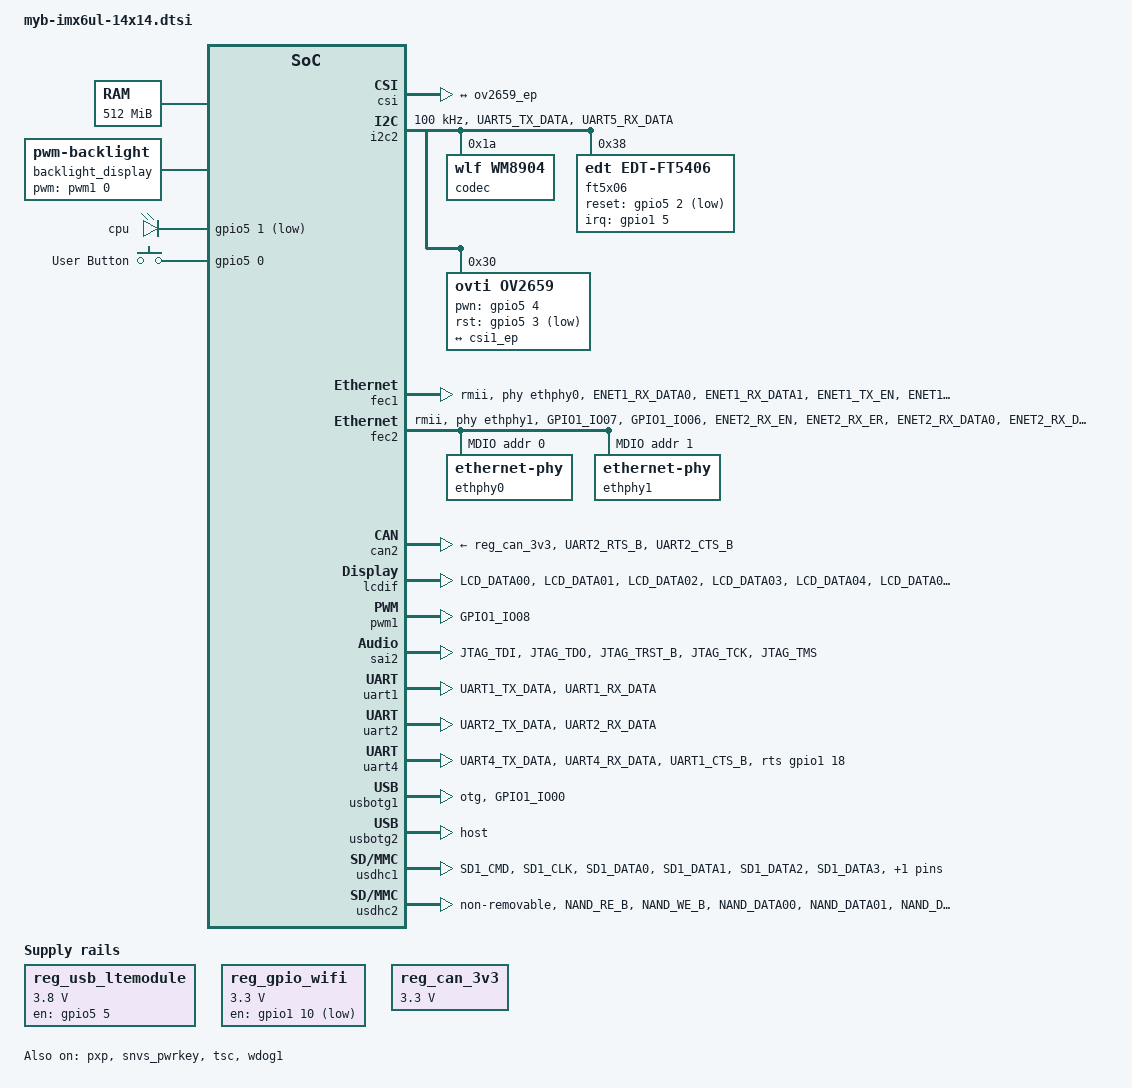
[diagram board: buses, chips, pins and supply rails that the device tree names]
// SPDX-License-Identifier: GPL-2.0
//
// Copyright (C) 2015 Freescale Semiconductor, Inc.

/ {
	chosen {
		stdout-path = &uart1;
	};

	memory@80000000 {
		device_type = "memory";
		reg = <0x80000000 0x20000000>;
	};

	reserved-memory {
		#address-cells = <1>;
		#size-cells = <1>;
		ranges;

		linux,cma {
			compatible = "shared-dma-pool";
			reusable;
			//size = <0x14000000>;
			size = <0x8000000>;
			linux,cma-default;
		};
	};

    usdhc2_pwrseq: usdhc2_pwrseq {                                                                                              
          compatible = "mmc-pwrseq-simple";                                                                                     
    };   

	backlight_display: backlight-display {
		compatible = "pwm-backlight";
		pwms = <&pwm1 0 5000000>;
		brightness-levels = <0 4 8 16 32 64 128 255>;
		default-brightness-level = <6>;
		status = "okay";
	};

	pxp_v4l2 {
		compatible = "fsl,imx6ul-pxp-v4l2", "fsl,imx6sx-pxp-v4l2", "fsl,imx6sl-pxp-v4l2";
		status = "okay";
	};

    reg_usb_ltemodule: regulator@1 {                                                                                            
            compatible = "regulator-fixed";                                                                                     
            regulator-name = "ltemodule-pwr";                                                                                   
            regulator-min-microvolt = <3800000>;                                                                                
            regulator-max-microvolt = <3800000>;                                                                                
            gpios = <&gpio5 5 GPIO_ACTIVE_HIGH>;                                                                                
            enable-active-high;                                                                                                 
            regulator-boot-on;
            regulator-always-on;                                                                                               
    };                                                                                                                          
                                                                                                                                
    reg_gpio_wifi: regulator@2 {                                                                                                
            compatible = "regulator-fixed";                                                                                     
            regulator-name = "wifi-pwr";                                                                                        
            regulator-min-microvolt = <3300000>;                                                                                
            regulator-max-microvolt = <3300000>;                                                                                
            gpios = <&gpio1 10 GPIO_ACTIVE_LOW>;                                                                                
            regulator-boot-on;
 	    regulator-always-on;                                                                                                  
    }; 

	reg_can_3v3: regulator-can-3v3 {
		compatible = "regulator-fixed";
		regulator-name = "can-3v3";
		regulator-min-microvolt = <3300000>;
		regulator-max-microvolt = <3300000>;
		regulator-always-on;
	};

    leds {
            compatible = "gpio-leds";
            pinctrl-names = "default";
            pinctrl-0 = <&pinctrl_leds>;

            led0: cpu {
                    label = "cpu";
                    gpios = <&gpio5 1 GPIO_ACTIVE_LOW>;
                    default-state = "on";
                    linux,default-trigger = "heartbeat";
            };
    };

    gpio-keys {
            compatible = "gpio-keys";
            pinctrl-names = "default";
            pinctrl-0 = <&pinctrl_gpio_key>;

            user {
                    label = "User Button";
                    gpios = <&gpio5 0 GPIO_ACTIVE_HIGH>;
                    gpio-key,wakeup;
                    linux,code = <KEY_1>;
            };
    };

    sound {                                                                                                                     
           compatible = "fsl,imx6ul-evk-wm8904",                                                                               
                       "fsl,imx-audio-wm8904";                                                                                 
           model = "wm8904-audio";                                                                                             
           cpu-dai = <&sai2>;                                                                                                  
           audio-codec = <&codec>;                                                                                             
           asrc-controller = <&asrc>;
          // codec-master;                                                                                          
           gpr = <&gpr>;                                                                                                       
           audio-routing =                                                                                                     
                   "Headphone Jack", "HPOUTL",                                                                                 
                   "Headphone Jack", "HPOUTR",                                                                                 
                   "IN2L", "Line In Jack",                                                                                     
                   "IN2R", "Line In Jack",                                                                                     
                   "Mic Jack", "MICBIAS",                                                                                      
                   "IN1L", "Mic Jack";                                                                                         
    }; 

/*
	sound {
                #address-cells = <1>;
                #size-cells = <0>;
                compatible = "simple-audio-card";
	        model = "wm8904-audio";
                simple-audio-card,widgets =
                        "Headphone", "Headphone Jack",
                        "Line", "Line Out Jack",
                        "Microphone", "Microphone Jack",
                        "Line", "Line In Jack";
                simple-audio-card,routing =
                        "Line Out Jack", "LINEOUTR",
                        "Line Out Jack", "LINEOUTL",
                        "Headphone Jack", "HPOUTR",
                        "Headphone Jack", "HPOUTL",
                        "IN1L", "Line In Jack",
                        "IN1R", "Line In Jack",
                        "Microphone Jack", "MICBIAS",
                        "IN2L", "Microphone Jack",
                        "IN2R", "Microphone Jack";
                simple-audio-card,mclk-fs = <256>;

                simple-audio-card,dai-link@0 {
                        reg = <0>;
                        bitclock-master = <&dailink0_master>;
                        frame-master = <&dailink0_master>;
                        format = "i2s";

                        cpu {
                                sound-dai = <&sai2>;
                        };

                        dailink0_master: codec {
                                sound-dai = <&wm8904>;
                        };
          };
	};
*/

};

&clks {
	assigned-clocks = <&clks IMX6UL_CLK_PLL4_AUDIO_DIV>;
	assigned-clock-rates = <786432000>;
};

&csi {
	status = "okay";

    port {
        csi1_ep: endpoint {
            remote-endpoint = <&ov2659_ep>;
        };
    };
};

&i2c2 {
	clock-frequency = <100000>;
	pinctrl-names = "default";
	pinctrl-0 = <&pinctrl_i2c2>;
	status = "okay";

    codec: wm8904@1a {
        #sound-dai-cells = <0>;
        compatible = "wlf,wm8904";
        reg = <0x1a>;
        clocks = <&clks IMX6UL_CLK_SAI2>;
        clock-names = "mclk";
        wlf,shared-lrclk;
    };

/*
    wm8904: audio-codec@1a {
                #sound-dai-cells = <0>;
                compatible = "wlf,wm8904";
                reg = <0x1a>;
          //      clocks = <&mclk>;
                clocks = <&clks IMX6UL_CLK_SAI2>;
                clock-names = "mclk";
                //assigned-clocks = <&mclk>;
                //assigned-clock-rates = <1250000>;
        };
*/    
    ft5x06: ft5x06@38 {                                                                                                         
        compatible = "edt,edt-ft5406", "edt,edt-ft5x06";                                                                        
            reg = <0x38>;                                                                                                       
            pinctrl-names = "default";                                                                                          
            pinctrl-0 = <&edt_ft5x06_pins>;                                                                                     
            interrupt-parent = <&gpio1>;                                                                                        
            interrupts = <5 IRQ_TYPE_EDGE_FALLING>;                                                                             
            reset-gpios = <&gpio5 2  GPIO_ACTIVE_LOW>;                                                                          
            touchscreen-size-x=<800>;                                                                                          
            touchscreen-size-y=<480>;                                                                                           
    };    

    ov2659: ov2659@30 {
        compatible = "ovti,ov2659";
        reg = <0x30>;
        pinctrl-names = "default";
        pinctrl-0 = <&pinctrl_csi1>;
        clocks = <&clks IMX6UL_CLK_CSI>;
        clock-names = "xvclk";
        pwn-gpios = <&gpio5 4 GPIO_ACTIVE_HIGH>;
        rst-gpios = <&gpio5 3 GPIO_ACTIVE_LOW>;
        status = "okay";
        port {
            ov2659_ep: endpoint {
                remote-endpoint = <&csi1_ep>;
                link-frequencies = /bits/ 64 <70000000>;
            };
        };
    };
};

&fec1 {
	pinctrl-names = "default";
	pinctrl-0 = <&pinctrl_enet1>;
	phy-mode = "rmii";
	phy-handle = <&ethphy0>;
	phy-reset-gpios = <&gpio5 9 GPIO_ACTIVE_LOW>;
	phy-reset-duration = <26>;
        phy-reset-post-delay=<20>;
	status = "okay";
};

&fec2 {
	pinctrl-names = "default";
	pinctrl-0 = <&pinctrl_enet2>;
	phy-mode = "rmii";
	phy-handle = <&ethphy1>;
	phy-reset-gpios = <&gpio5 6 GPIO_ACTIVE_LOW>;
	phy-reset-duration = <26>;
        phy-reset-post-delay=<20>;
	status = "okay";

	mdio {
		#address-cells = <1>;
		#size-cells = <0>;

		ethphy0: ethernet-phy@0 {
			reg = <0>;
			micrel,led-mode = <1>;
		};

		ethphy1: ethernet-phy@1 {
			reg = <1>;
			micrel,led-mode = <1>;
		};
	};
};

&can1 {
	pinctrl-names = "default";
	pinctrl-0 = <&pinctrl_flexcan1>;
	xceiver-supply = <&reg_can_3v3>;
	status = "disabled";
};

&can2 {
	pinctrl-names = "default";
	pinctrl-0 = <&pinctrl_flexcan2>;
	xceiver-supply = <&reg_can_3v3>;
	status = "okay";
};

&i2c1 {
	clock-frequency = <100000>;
	pinctrl-names = "default";
	pinctrl-0 = <&pinctrl_i2c1>;
	status = "disabled";
};

&lcdif {
	assigned-clocks = <&clks IMX6UL_CLK_LCDIF_PRE_SEL>;
	assigned-clock-parents = <&clks IMX6UL_CLK_PLL5_VIDEO_DIV>;
	pinctrl-names = "default";
	pinctrl-0 = <&pinctrl_lcdif_dat
		     &pinctrl_lcdif_ctrl>;
	// powergpio-gpio = <&gpio3 4  GPIO_ACTIVE_HIGH>;
	display = <&display0>;
	status = "okay";

	display0: display@0 {
		bits-per-pixel = <16>;
		bus-width = <16>;

		display-timings {
			native-mode = <&timing0>;


			/*4.3-inch*/
			timing0: timing0 {
				clock-frequency = <9200000>;
				hactive = <480>;
				vactive = <272>;
				hfront-porch = <8>;
				hback-porch = <4>;
				hsync-len = <41>;
				vback-porch = <2>;
				vfront-porch = <4>;
				vsync-len = <10>;
				hsync-active = <0>;
				vsync-active = <0>;
				de-active = <1>;
				pixelclk-active = <0>;
			};

			/*7.0-inch*/
			timing1: timing1 {
				clock-frequency = <33000000>;
				hactive = <800>;
				vactive = <480>;
				hfront-porch = <210>;
				hback-porch = <46>;
				hsync-len = <1>;
				vback-porch = <22>;
				vfront-porch = <23>;
				vsync-len = <20>;
		
				hsync-active = <0>;
				vsync-active = <0>;
				de-active = <1>;
				pixelclk-active = <0>;
		};

		};
	};
};

&pwm1 {
	pinctrl-names = "default";
	pinctrl-0 = <&pinctrl_pwm1>;
	status = "okay";
};

&pxp {
	status = "okay";
};

&qspi {
	pinctrl-names = "default";
	status = "disabled";
};

&sai2 {
	pinctrl-names = "default";
	pinctrl-0 = <&pinctrl_sai2>;
	assigned-clocks = <&clks IMX6UL_CLK_SAI2_SEL>,
			  <&clks IMX6UL_CLK_SAI2>;
	assigned-clock-parents = <&clks IMX6UL_CLK_PLL4_AUDIO_DIV>;
	assigned-clock-rates = <0>, <12288000>;
	fsl,sai-mclk-direction-output;
	status = "okay";
};

&snvs_poweroff {
	status = "okay";
};

&snvs_pwrkey {
	status = "okay";
};

&sim2 {
	pinctrl-names = "default";
	pinctrl-0 = <&pinctrl_sim2>;
	assigned-clocks = <&clks IMX6UL_CLK_SIM_SEL>;
	assigned-clock-parents = <&clks IMX6UL_CLK_SIM_PODF>;
	assigned-clock-rates = <240000000>;
	/* GPIO_ACTIVE_HIGH/LOW:sim card voltage control
	 * NCN8025:Vcc = ACTIVE_HIGH?5V:3V
	 * TDA8035:Vcc = ACTIVE_HIGH?5V:1.8V
	 */
	pinctrl-assert-gpios = <&gpio4 23 GPIO_ACTIVE_HIGH>;
	port = <1>;
	sven_low_active;
	status = "disabled";
};

&tsc {
	pinctrl-names = "default";
	pinctrl-0 = <&pinctrl_tsc>;
	xnur-gpio = <&gpio1 3 GPIO_ACTIVE_LOW>;
	measure-delay-time = <0xffff>;
	pre-charge-time = <0xfff>;
	status = "okay";
};

&uart1 {
	pinctrl-names = "default";
	pinctrl-0 = <&pinctrl_uart1>;
	status = "okay";
};

&uart2 {
	pinctrl-names = "default";
	pinctrl-0 = <&pinctrl_uart2>;
	uart-has-rtscts;
	/* for DTE mode, add below change */
	/* fsl,dte-mode; */
	/* pinctrl-0 = <&pinctrl_uart2dte>; */
	status = "okay";
};

&uart4 {
    pinctrl-names = "default";
    pinctrl-0 = <&pinctrl_uart4>;
    rts-gpios = <&gpio1 18 GPIO_ACTIVE_HIGH>;
    status = "okay";
};

&usbotg1 {
	dr_mode = "otg";
	pinctrl-names = "default";
	pinctrl-0 = <&pinctrl_usb_otg1>;
        srp-disable;
        hnp-disable;
        adp-disable;
	status = "okay";
};

&usbotg2 {
	dr_mode = "host";
	disable-over-current;
	status = "okay";
};

&usbphy1 {
	fsl,tx-d-cal = <5>;
};

&usbphy2 {
	fsl,tx-d-cal = <5>;
};

&usdhc1 {
	pinctrl-names = "default";
	pinctrl-names = "default", "state_100mhz", "state_200mhz";
	pinctrl-0 = <&pinctrl_usdhc1>;
	pinctrl-1 = <&pinctrl_usdhc1_100mhz>;
	pinctrl-2 = <&pinctrl_usdhc1_200mhz>;
	cd-gpios = <&gpio1 19 GPIO_ACTIVE_LOW>;
	keep-power-in-suspend;
	wakeup-source;
	//vmmc-supply = <&reg_sd1_vmmc>;
	status = "okay";
};

&usdhc2 {                                                                                                                               
    pinctrl-names = "default";                                                                                                          
    pinctrl-0 = <&pinctrl_usdhc2>;                                                                                                      
    non-removable;                                                                                                                      
    keep-power-in-suspend;                                                                                                              
    wakeup-source;                                                                                                                      
    status = "okay";                                                                                                                    
};  

&wdog1 {
	pinctrl-names = "default";
	//pinctrl-0 = <&pinctrl_wdog>;
	status="okay";
	//fsl,ext-reset-output;
};

&iomuxc {
	pinctrl-names = "default";
	pinctrl-0 = <&pinctrl_hog_1>;
	imx6ul-evk {

    pinctrl_hog_1: hoggrp-1 {
        fsl,pins = <
            MX6UL_PAD_UART1_RTS_B__GPIO1_IO19   0x17059 /* SD1 CD */
            MX6UL_PAD_GPIO1_IO09__GPIO1_IO09    0x17059 /* LCD_DISP */
            MX6UL_PAD_NAND_CE1_B__GPIO4_IO14    0x17059 /* LTE Reset */
            //MX6UL_PAD_LCD_ENABLE__GPIO3_IO01    0x000010B0
            MX6UL_PAD_UART3_TX_DATA__GPIO1_IO24        0x000030B0
	    	MX6UL_PAD_UART3_RX_DATA__GPIO1_IO25        0x000010B0

            MX6UL_PAD_UART3_RTS_B__GPIO1_IO27          0x000010B0
            MX6UL_PAD_UART3_CTS_B__GPIO1_IO26          0x000010B0
            MX6UL_PAD_LCD_DATA17__GPIO3_IO22           0x000010B0

            // MX6UL_PAD_JTAG_TDO__GPIO1_IO12             0x000030B1
	>;
    };

    pinctrl_wifi: wifigrp {
        fsl,pins = <
            MX6UL_PAD_JTAG_MOD__GPIO1_IO10		0x17059 /* WiFi module power */
        >;
    };

    edt_ft5x06_pins: ft5x06 {
        fsl,pins = <
            MX6UL_PAD_GPIO1_IO05__GPIO1_IO05    0x1b0b0 /* TP INT */
        >;
    };

	pinctrl_csi1: csi1grp {
		fsl,pins = <
			MX6UL_PAD_CSI_MCLK__CSI_MCLK		0x1b088
			MX6UL_PAD_CSI_PIXCLK__CSI_PIXCLK	0x1b088
			MX6UL_PAD_CSI_VSYNC__CSI_VSYNC		0x1b088
			MX6UL_PAD_CSI_HSYNC__CSI_HSYNC		0x1b088
			MX6UL_PAD_CSI_DATA00__CSI_DATA02	0x1b088
			MX6UL_PAD_CSI_DATA01__CSI_DATA03	0x1b088
			MX6UL_PAD_CSI_DATA02__CSI_DATA04	0x1b088
			MX6UL_PAD_CSI_DATA03__CSI_DATA05	0x1b088
			MX6UL_PAD_CSI_DATA04__CSI_DATA06	0x1b088
			MX6UL_PAD_CSI_DATA05__CSI_DATA07	0x1b088
			MX6UL_PAD_CSI_DATA06__CSI_DATA08	0x1b088
			MX6UL_PAD_CSI_DATA07__CSI_DATA09	0x1b088
		>;
	};

	pinctrl_enet1: enet1grp {
		fsl,pins = <
			// MX6UL_PAD_ENET1_RX_EN__ENET1_RX_EN	0x1b0b0
			// MX6UL_PAD_ENET1_RX_ER__ENET1_RX_ER	0x1b0b0
			MX6UL_PAD_ENET1_RX_DATA0__ENET1_RDATA00	0x1b0b0
			MX6UL_PAD_ENET1_RX_DATA1__ENET1_RDATA01	0x1b0b0
			MX6UL_PAD_ENET1_TX_EN__ENET1_TX_EN	0x1b0b0
			MX6UL_PAD_ENET1_TX_DATA0__ENET1_TDATA00	0x1b0b0
			MX6UL_PAD_ENET1_TX_DATA1__ENET1_TDATA01	0x1b0b0
			MX6UL_PAD_ENET1_TX_CLK__ENET1_REF_CLK1	0x4001b031
		>;
	};

	pinctrl_enet2: enet2grp {
		fsl,pins = <
			MX6UL_PAD_GPIO1_IO07__ENET2_MDC		0x1b0b0
			MX6UL_PAD_GPIO1_IO06__ENET2_MDIO	0x1b0b0
			MX6UL_PAD_ENET2_RX_EN__ENET2_RX_EN	0x1b0b0
			MX6UL_PAD_ENET2_RX_ER__ENET2_RX_ER	0x1b0b0
			MX6UL_PAD_ENET2_RX_DATA0__ENET2_RDATA00	0x1b0b0
			MX6UL_PAD_ENET2_RX_DATA1__ENET2_RDATA01	0x1b0b0
			MX6UL_PAD_ENET2_TX_EN__ENET2_TX_EN	0x1b0b0
			MX6UL_PAD_ENET2_TX_DATA0__ENET2_TDATA00	0x1b0b0
			MX6UL_PAD_ENET2_TX_DATA1__ENET2_TDATA01	0x1b0b0
			MX6UL_PAD_ENET2_TX_CLK__ENET2_REF_CLK2	0x4001b031
		>;
	};

	pinctrl_flexcan1: flexcan1grp{
		fsl,pins = <
			MX6UL_PAD_UART3_RTS_B__FLEXCAN1_RX	0x1b020
			MX6UL_PAD_UART3_CTS_B__FLEXCAN1_TX	0x1b020
		>;
	};

	pinctrl_flexcan2: flexcan2grp{
		fsl,pins = <
			MX6UL_PAD_UART2_RTS_B__FLEXCAN2_RX	0x1b020
			MX6UL_PAD_UART2_CTS_B__FLEXCAN2_TX	0x1b020
		>;
	};

	pinctrl_i2c1: i2c1grp {
		fsl,pins = <
			MX6UL_PAD_UART4_TX_DATA__I2C1_SCL 0x4001b8b0
			MX6UL_PAD_UART4_RX_DATA__I2C1_SDA 0x4001b8b0
		>;
	};

	pinctrl_i2c2: i2c2grp {
		fsl,pins = <
			MX6UL_PAD_UART5_TX_DATA__I2C2_SCL 0x4001b8b0
			MX6UL_PAD_UART5_RX_DATA__I2C2_SDA 0x4001b8b0
		>;
	};

	pinctrl_lcdif_dat: lcdifdatgrp {
		fsl,pins = <
			MX6UL_PAD_LCD_DATA00__LCDIF_DATA00  0x79
			MX6UL_PAD_LCD_DATA01__LCDIF_DATA01  0x79
			MX6UL_PAD_LCD_DATA02__LCDIF_DATA02  0x79
			MX6UL_PAD_LCD_DATA03__LCDIF_DATA03  0x79
			MX6UL_PAD_LCD_DATA04__LCDIF_DATA04  0x79
			MX6UL_PAD_LCD_DATA05__LCDIF_DATA05  0x79
			MX6UL_PAD_LCD_DATA06__LCDIF_DATA06  0x79
			MX6UL_PAD_LCD_DATA07__LCDIF_DATA07  0x79
			MX6UL_PAD_LCD_DATA08__LCDIF_DATA08  0x79
			MX6UL_PAD_LCD_DATA09__LCDIF_DATA09  0x79
			MX6UL_PAD_LCD_DATA10__LCDIF_DATA10  0x79
			MX6UL_PAD_LCD_DATA11__LCDIF_DATA11  0x79
			MX6UL_PAD_LCD_DATA12__LCDIF_DATA12  0x79
			MX6UL_PAD_LCD_DATA13__LCDIF_DATA13  0x79
			MX6UL_PAD_LCD_DATA14__LCDIF_DATA14  0x79
			MX6UL_PAD_LCD_DATA15__LCDIF_DATA15  0x79
	//		MX6UL_PAD_LCD_DATA16__LCDIF_DATA16  0x79
	//		MX6UL_PAD_LCD_DATA17__LCDIF_DATA17  0x79
	//		MX6UL_PAD_LCD_DATA18__LCDIF_DATA18  0x79
	//		MX6UL_PAD_LCD_DATA19__LCDIF_DATA19  0x79
	//		MX6UL_PAD_LCD_DATA20__LCDIF_DATA20  0x79
	//		MX6UL_PAD_LCD_DATA21__LCDIF_DATA21  0x79
	//		MX6UL_PAD_LCD_DATA22__LCDIF_DATA22  0x79
	//		MX6UL_PAD_LCD_DATA23__LCDIF_DATA23  0x79
		>;
	};

	pinctrl_lcdif_ctrl: lcdifctrlgrp {
		fsl,pins = <
			MX6UL_PAD_LCD_CLK__LCDIF_CLK	    0x79
			MX6UL_PAD_LCD_ENABLE__LCDIF_ENABLE  0x79
			MX6UL_PAD_LCD_HSYNC__LCDIF_HSYNC    0x79
			MX6UL_PAD_LCD_VSYNC__LCDIF_VSYNC    0x79
			/* used for lcd power */
		        MX6UL_PAD_LCD_RESET__GPIO3_IO04     0x1b0b0
		>;
	};

	pinctrl_sai2: sai2grp {
		fsl,pins = <
			MX6UL_PAD_JTAG_TDI__SAI2_TX_BCLK	0x17088
			MX6UL_PAD_JTAG_TDO__SAI2_TX_SYNC	0x17088
			MX6UL_PAD_JTAG_TRST_B__SAI2_TX_DATA	0x11088
			MX6UL_PAD_JTAG_TCK__SAI2_RX_DATA	0x11088
			MX6UL_PAD_JTAG_TMS__SAI2_MCLK		0x17088
		>;
	};

	pinctrl_pwm1: pwm1grp {
		fsl,pins = <
			MX6UL_PAD_GPIO1_IO08__PWM1_OUT   0x110b0
		>;
	};

	pinctrl_sim2: sim2grp {
		fsl,pins = <
			MX6UL_PAD_CSI_DATA03__SIM2_PORT1_PD		0xb808
			MX6UL_PAD_CSI_DATA04__SIM2_PORT1_CLK		0x31
			MX6UL_PAD_CSI_DATA05__SIM2_PORT1_RST_B		0xb808
			MX6UL_PAD_CSI_DATA06__SIM2_PORT1_SVEN		0xb808
			MX6UL_PAD_CSI_DATA07__SIM2_PORT1_TRXD		0xb809
			MX6UL_PAD_CSI_DATA02__GPIO4_IO23		0x3008
		>;
	};

	pinctrl_spi4: spi4grp {
		fsl,pins = <
			MX6UL_PAD_BOOT_MODE0__GPIO5_IO10	0x70a1
			MX6UL_PAD_BOOT_MODE1__GPIO5_IO11	0x70a1
			MX6UL_PAD_SNVS_TAMPER7__GPIO5_IO07	0x70a1
			MX6UL_PAD_SNVS_TAMPER8__GPIO5_IO08	0x80000000
		>;
	};

	pinctrl_tsc: tscgrp {
		fsl,pins = <
			MX6UL_PAD_GPIO1_IO01__GPIO1_IO01		0xb0
			MX6UL_PAD_GPIO1_IO02__GPIO1_IO02		0xb0
			MX6UL_PAD_GPIO1_IO03__GPIO1_IO03		0xb0
			MX6UL_PAD_GPIO1_IO04__GPIO1_IO04		0xb0
		>;
	};

	pinctrl_uart1: uart1grp {
		fsl,pins = <
			MX6UL_PAD_UART1_TX_DATA__UART1_DCE_TX 0x1b0b1
			MX6UL_PAD_UART1_RX_DATA__UART1_DCE_RX 0x1b0b1
		>;
	};

	pinctrl_uart2: uart2grp {
		fsl,pins = <
			MX6UL_PAD_UART2_TX_DATA__UART2_DCE_TX	0x1b0b1
			MX6UL_PAD_UART2_RX_DATA__UART2_DCE_RX	0x1b0b1
			// MX6UL_PAD_UART3_RX_DATA__UART2_DCE_RTS	0x1b0b1
			// MX6UL_PAD_UART3_TX_DATA__UART2_DCE_CTS	0x1b0b1
		>;
	};

	pinctrl_uart2dte: uart2dtegrp {
		fsl,pins = <
			MX6UL_PAD_UART2_TX_DATA__UART2_DTE_RX	0x1b0b1
			MX6UL_PAD_UART2_RX_DATA__UART2_DTE_TX	0x1b0b1
			// MX6UL_PAD_UART3_RX_DATA__UART2_DTE_CTS	0x1b0b1
			// MX6UL_PAD_UART3_TX_DATA__UART2_DTE_RTS	0x1b0b1
		>;
	};

    pinctrl_uart4: uart4grp {
            fsl,pins = <
                MX6UL_PAD_UART4_TX_DATA__UART4_DCE_TX   0x1b0b1
                MX6UL_PAD_UART4_RX_DATA__UART4_DCE_RX   0x1b0b1
                MX6UL_PAD_UART1_CTS_B__GPIO1_IO18       0x1b0b1 /* RS485 RE/DE */
            >;
    };

	pinctrl_usb_otg1: usbotg1grp {
		fsl,pins = <
			MX6UL_PAD_GPIO1_IO00__ANATOP_OTG1_ID	0x17059
		>;
	};

	pinctrl_usdhc1: usdhc1grp {
		fsl,pins = <
			MX6UL_PAD_SD1_CMD__USDHC1_CMD     	0x17059
			MX6UL_PAD_SD1_CLK__USDHC1_CLK		0x10071
			MX6UL_PAD_SD1_DATA0__USDHC1_DATA0 	0x17059
			MX6UL_PAD_SD1_DATA1__USDHC1_DATA1 	0x17059
			MX6UL_PAD_SD1_DATA2__USDHC1_DATA2 	0x17059
			MX6UL_PAD_SD1_DATA3__USDHC1_DATA3 	0x17059
		>;
	};

	pinctrl_usdhc1_100mhz: usdhc1grp100mhz {
		fsl,pins = <
			MX6UL_PAD_SD1_CMD__USDHC1_CMD     0x170b9
			MX6UL_PAD_SD1_CLK__USDHC1_CLK     0x100b9
			MX6UL_PAD_SD1_DATA0__USDHC1_DATA0 0x170b9
			MX6UL_PAD_SD1_DATA1__USDHC1_DATA1 0x170b9
			MX6UL_PAD_SD1_DATA2__USDHC1_DATA2 0x170b9
			MX6UL_PAD_SD1_DATA3__USDHC1_DATA3 0x170b9

		>;
	};

    pinctrl_usdhc2_alt: usdhc2grp_alt {
        fsl,pins = <
            MX6UL_PAD_LCD_DATA18__USDHC2_CMD  0x17051
            MX6UL_PAD_LCD_DATA19__USDHC2_CLK  0x17051
            MX6UL_PAD_LCD_DATA20__USDHC2_DATA0  0x17051
            MX6UL_PAD_LCD_DATA21__USDHC2_DATA1  0x17051
            MX6UL_PAD_LCD_DATA22__USDHC2_DATA2  0x17051
            MX6UL_PAD_LCD_DATA23__USDHC2_DATA3  0x17051
        >;
    };

	pinctrl_usdhc1_200mhz: usdhc1grp200mhz {
		fsl,pins = <
			MX6UL_PAD_SD1_CMD__USDHC1_CMD     0x170f9
			MX6UL_PAD_SD1_CLK__USDHC1_CLK     0x100f9
			MX6UL_PAD_SD1_DATA0__USDHC1_DATA0 0x170f9
			MX6UL_PAD_SD1_DATA1__USDHC1_DATA1 0x170f9
			MX6UL_PAD_SD1_DATA2__USDHC1_DATA2 0x170f9
			MX6UL_PAD_SD1_DATA3__USDHC1_DATA3 0x170f9
		>;
	};

	pinctrl_usdhc2: usdhc2grp {
		fsl,pins = <
			MX6UL_PAD_NAND_RE_B__USDHC2_CLK     0x17059
			MX6UL_PAD_NAND_WE_B__USDHC2_CMD     0x17059
			MX6UL_PAD_NAND_DATA00__USDHC2_DATA0 0x17059
			MX6UL_PAD_NAND_DATA01__USDHC2_DATA1 0x17059
			MX6UL_PAD_NAND_DATA02__USDHC2_DATA2 0x17059
			MX6UL_PAD_NAND_DATA03__USDHC2_DATA3 0x17059
		>;
	};

	pinctrl_usdhc2_8bit: usdhc2grp_8bit {
		fsl,pins = <
			MX6UL_PAD_NAND_RE_B__USDHC2_CLK     0x10069
			MX6UL_PAD_NAND_WE_B__USDHC2_CMD     0x17059
			MX6UL_PAD_NAND_DATA00__USDHC2_DATA0 0x17059
			MX6UL_PAD_NAND_DATA01__USDHC2_DATA1 0x17059
			MX6UL_PAD_NAND_DATA02__USDHC2_DATA2 0x17059
			MX6UL_PAD_NAND_DATA03__USDHC2_DATA3 0x17059
			MX6UL_PAD_NAND_DATA04__USDHC2_DATA4 0x17059
			MX6UL_PAD_NAND_DATA05__USDHC2_DATA5 0x17059
			MX6UL_PAD_NAND_DATA06__USDHC2_DATA6 0x17059
			MX6UL_PAD_NAND_DATA07__USDHC2_DATA7 0x17059
		>;
	};

	pinctrl_usdhc2_8bit_100mhz: usdhc2grp_8bit_100mhz {
		fsl,pins = <
			MX6UL_PAD_NAND_RE_B__USDHC2_CLK     0x100b9
			MX6UL_PAD_NAND_WE_B__USDHC2_CMD     0x170b9
			MX6UL_PAD_NAND_DATA00__USDHC2_DATA0 0x170b9
			MX6UL_PAD_NAND_DATA01__USDHC2_DATA1 0x170b9
			MX6UL_PAD_NAND_DATA02__USDHC2_DATA2 0x170b9
			MX6UL_PAD_NAND_DATA03__USDHC2_DATA3 0x170b9
			MX6UL_PAD_NAND_DATA04__USDHC2_DATA4 0x170b9
			MX6UL_PAD_NAND_DATA05__USDHC2_DATA5 0x170b9
			MX6UL_PAD_NAND_DATA06__USDHC2_DATA6 0x170b9
			MX6UL_PAD_NAND_DATA07__USDHC2_DATA7 0x170b9
		>;
	};

	pinctrl_usdhc2_8bit_200mhz: usdhc2grp_8bit_200mhz {
		fsl,pins = <
			MX6UL_PAD_NAND_RE_B__USDHC2_CLK     0x100f9
			MX6UL_PAD_NAND_WE_B__USDHC2_CMD     0x170f9
			MX6UL_PAD_NAND_DATA00__USDHC2_DATA0 0x170f9
			MX6UL_PAD_NAND_DATA01__USDHC2_DATA1 0x170f9
			MX6UL_PAD_NAND_DATA02__USDHC2_DATA2 0x170f9
			MX6UL_PAD_NAND_DATA03__USDHC2_DATA3 0x170f9
			MX6UL_PAD_NAND_DATA04__USDHC2_DATA4 0x170f9
			MX6UL_PAD_NAND_DATA05__USDHC2_DATA5 0x170f9
			MX6UL_PAD_NAND_DATA06__USDHC2_DATA6 0x170f9
			MX6UL_PAD_NAND_DATA07__USDHC2_DATA7 0x170f9
		>;
	};

    pinctrl_leds: ledgrp {
        fsl,pins = <
            MX6UL_PAD_SNVS_TAMPER1__GPIO5_IO01 0x1b0b0
        >;
    };

    pinctrl_gpio_key: keygrp {
        fsl,pins = <
            MX6UL_PAD_SNVS_TAMPER0__GPIO5_IO00 0x1b0b0
        >;
    };
  };
};

